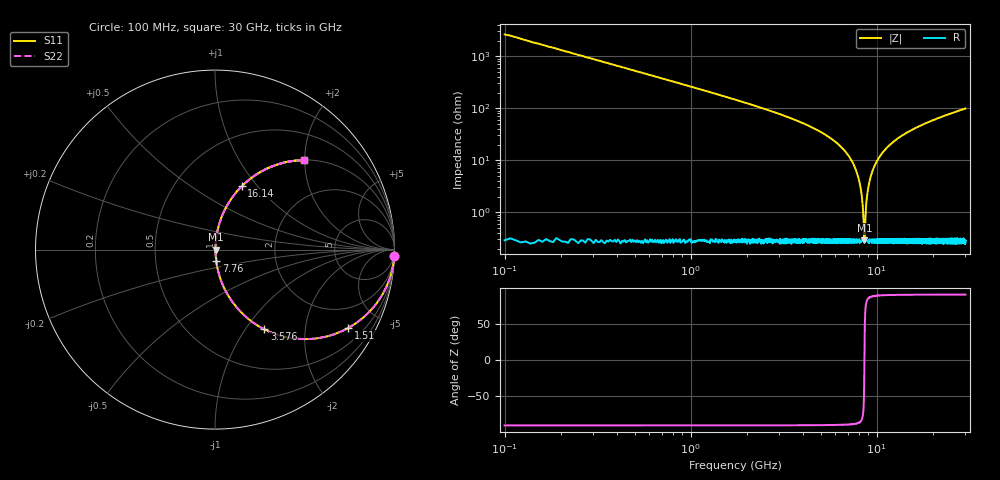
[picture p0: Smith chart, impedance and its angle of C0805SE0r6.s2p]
! AVX Thin Film Operation		Date: April 2012
! Description: Accu-P® Series, Thin Film, SMD, RF Capacitor
! Part Number: 08051J0R6PBTTR
!	100	MHz	-	30.05	GHz
!	Serial	Measurements
#	MHZ	S	MA	R	50
!	S11	S21	S12	S22
!	dB	Phase	dB	Phase	dB	Phase	dB	Phase
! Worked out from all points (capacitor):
!   4010 points, 100 MHz to 30 GHz, reference 50 ohm
!   read as one part in series: C = 600 fF near 249.2 MHz
!   lowest |Z| = 290 mohm at 8.595 GHz (marker M1)
!   series resonance near 8.594 GHz, so ESL is about 570 pH
!   S11 on the Smith chart (normalised r, x): 100 MHz: 1, -53; 1.51 GHz: 1.00, -3.41; 3.576 GHz: 1.01, -1.23; 7.76 GHz: 1.01, -0.13; 16.14 GHz: 1.01, +0.83; 30 GHz: 1.01, +1.98
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100  0.999 -2.2  0.038 87.8  0.038 87.8  0.999 -2.2
353.579  0.991 -7.6  0.132 82.4  0.132 82.4  0.991 -7.6
599.701  0.975 -12.8  0.222 77.2  0.222 77.2  0.975 -12.8
1509.603  0.862 -30.4  0.506 59.5  0.506 59.5  0.862 -30.4
3575.53  0.522 -58.3  0.851 31.5  0.851 31.5  0.522 -58.3
5089.549  0.32 -70.9  0.945 18.6  0.945 18.6  0.32 -70.9
6745.273  0.149 -80.4  0.986 8.6  0.986 8.6  0.149 -80.4
7759.591  0.063 -83.9  0.995 3.6  0.995 3.6  0.063 -83.9
8214.542  0.028 -82.7  0.997 1.6  0.997 1.6  0.028 -82.7
8356.248  0.017 -79.8  0.997 1.0  0.997 1.0  0.017 -79.8
8505.413  0.00697 -66.0  0.997 0.4  0.997 0.4  0.00697 -66.0
8594.911  0.00279 1.3  0.997 -0.0  0.997 -0.0  0.00279 1.3
8691.868  0.00751 67.8  0.997 -0.4  0.997 -0.4  0.00751 67.8
8885.782  0.021 81.1  0.997 -1.2  0.997 -1.2  0.021 81.1
9109.529  0.036 83.5  0.997 -2.1  0.997 -2.1  0.036 83.5
10071.64  0.098 82.8  0.992 -5.6  0.992 -5.6  0.098 82.8
11951.11  0.202 77.5  0.977 -11.7  0.977 -11.7  0.202 77.5
15053.73  0.342 69.6  0.937 -20.0  0.937 -20.0  0.342 69.6
16142.63  0.383 67.1  0.921 -22.5  0.921 -22.5  0.383 67.1
20035.82  0.505 59.4  0.861 -30.4  0.861 -30.4  0.505 59.4
25017.91  0.62 51.5  0.782 -38.3  0.782 -38.3  0.62 51.5
30000  0.702 45.2  0.71 -44.6  0.71 -44.6  0.702 45.2
